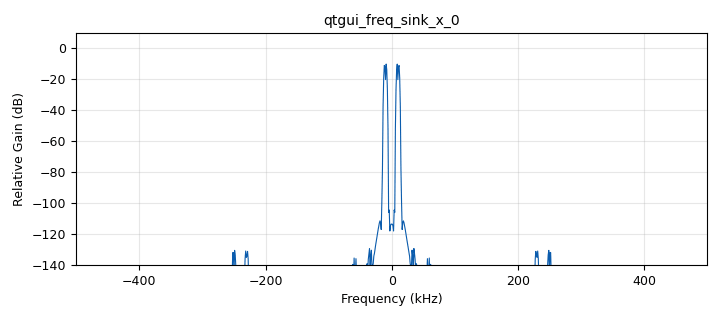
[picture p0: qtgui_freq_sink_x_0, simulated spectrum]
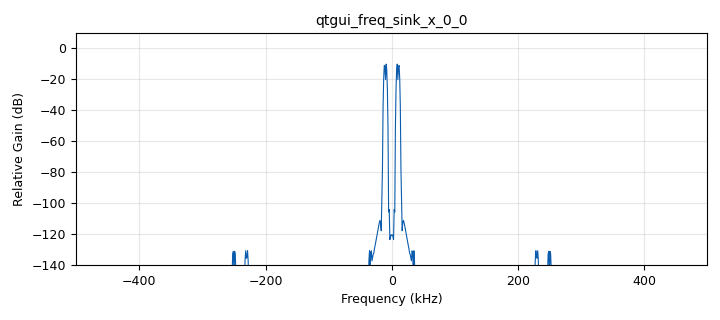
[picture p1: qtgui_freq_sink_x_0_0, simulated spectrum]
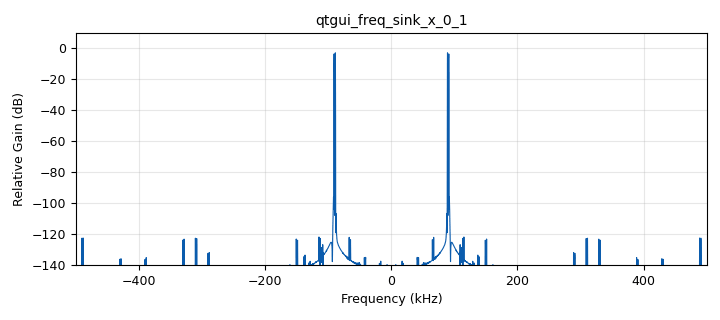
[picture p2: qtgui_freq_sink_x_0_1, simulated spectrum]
options:
  parameters:
    generate_options: qt_gui
    id: high_frequency_if_stage
    output_language: python
    title: Not titled yet
  states: {}

blocks:
- name: samp_rate
  id: variable
  parameters:
    value: 1e6
  states: {}
- name: analog_sig_source_x_0
  id: analog_sig_source_x
  parameters:
    amp: '2'
    freq: 1e3
    offset: '0'
    phase: '0'
    samp_rate: samp_rate
    type: float
    waveform: analog.GR_SIN_WAVE
  states: {}
- name: analog_sig_source_x_0_0
  id: analog_sig_source_x
  parameters:
    amp: '2'
    freq: 10e3
    offset: '0'
    phase: '0'
    samp_rate: samp_rate
    type: float
    waveform: analog.GR_SIN_WAVE
  states: {}
- name: analog_sig_source_x_0_0_0
  id: analog_sig_source_x
  parameters:
    amp: '2'
    freq: 10e3
    offset: '0'
    phase: '0'
    samp_rate: samp_rate
    type: float
    waveform: analog.GR_COS_WAVE
  states: {}
- name: analog_sig_source_x_0_0_0_0
  id: analog_sig_source_x
  parameters:
    amp: '2'
    freq: 100e3
    offset: '0'
    phase: '0'
    samp_rate: samp_rate
    type: float
    waveform: analog.GR_COS_WAVE
  states: {}
- name: analog_sig_source_x_0_0_1
  id: analog_sig_source_x
  parameters:
    amp: '2'
    freq: 100e3
    offset: '0'
    phase: '0'
    samp_rate: samp_rate
    type: float
    waveform: analog.GR_SIN_WAVE
  states: {}
- name: blocks_add_xx_0
  id: blocks_add_xx
  parameters:
    type: float
  states: {}
- name: blocks_multiply_xx_0
  id: blocks_multiply_xx
  parameters:
    type: float
  states: {}
- name: blocks_multiply_xx_0_0
  id: blocks_multiply_xx
  parameters:
    type: float
  states: {}
- name: blocks_multiply_xx_0_1
  id: blocks_multiply_xx
  parameters:
    type: float
  states: {}
- name: blocks_multiply_xx_0_1_0
  id: blocks_multiply_xx
  parameters:
    type: float
  states: {}
- name: blocks_null_sink_0
  id: blocks_null_sink
  parameters:
    type: complex
  states: {}
- name: blocks_null_source_0
  id: blocks_null_source
  parameters:
    type: complex
  states: {}
- name: blocks_throttle_0
  id: blocks_throttle
  parameters:
    samples_per_second: samp_rate
    type: complex
  states: {}
- name: qtgui_freq_sink_x_0
  id: qtgui_freq_sink_x
  parameters:
    bw: samp_rate
    fc: '0'
    fftsize: '1024'
    type: float
    wintype: firdes.WIN_BLACKMAN_hARRIS
  states: {}
- name: qtgui_freq_sink_x_0_0
  id: qtgui_freq_sink_x
  parameters:
    bw: samp_rate
    fc: '0'
    fftsize: '1024'
    type: float
    wintype: firdes.WIN_BLACKMAN_hARRIS
  states: {}
- name: qtgui_freq_sink_x_0_1
  id: qtgui_freq_sink_x
  parameters:
    bw: samp_rate
    fc: '0'
    fftsize: '8192'
    type: float
    wintype: firdes.WIN_BLACKMAN_hARRIS
  states: {}

connections:
- [analog_sig_source_x_0, '0', blocks_multiply_xx_0, '0']
- [analog_sig_source_x_0, '0', blocks_multiply_xx_0_1, '0']
- [analog_sig_source_x_0_0, '0', blocks_multiply_xx_0, '1']
- [analog_sig_source_x_0_0_0, '0', blocks_multiply_xx_0_1, '1']
- [analog_sig_source_x_0_0_0_0, '0', blocks_multiply_xx_0_1_0, '1']
- [analog_sig_source_x_0_0_1, '0', blocks_multiply_xx_0_0, '1']
- [blocks_add_xx_0, '0', qtgui_freq_sink_x_0_1, '0']
- [blocks_multiply_xx_0, '0', blocks_multiply_xx_0_0, '0']
- [blocks_multiply_xx_0, '0', qtgui_freq_sink_x_0, '0']
- [blocks_multiply_xx_0_0, '0', blocks_add_xx_0, '0']
- [blocks_multiply_xx_0_1, '0', blocks_multiply_xx_0_1_0, '0']
- [blocks_multiply_xx_0_1, '0', qtgui_freq_sink_x_0_0, '0']
- [blocks_multiply_xx_0_1_0, '0', blocks_add_xx_0, '1']
- [blocks_null_source_0, '0', blocks_throttle_0, '0']
- [blocks_throttle_0, '0', blocks_null_sink_0, '0']

metadata:
  file_format: 1
